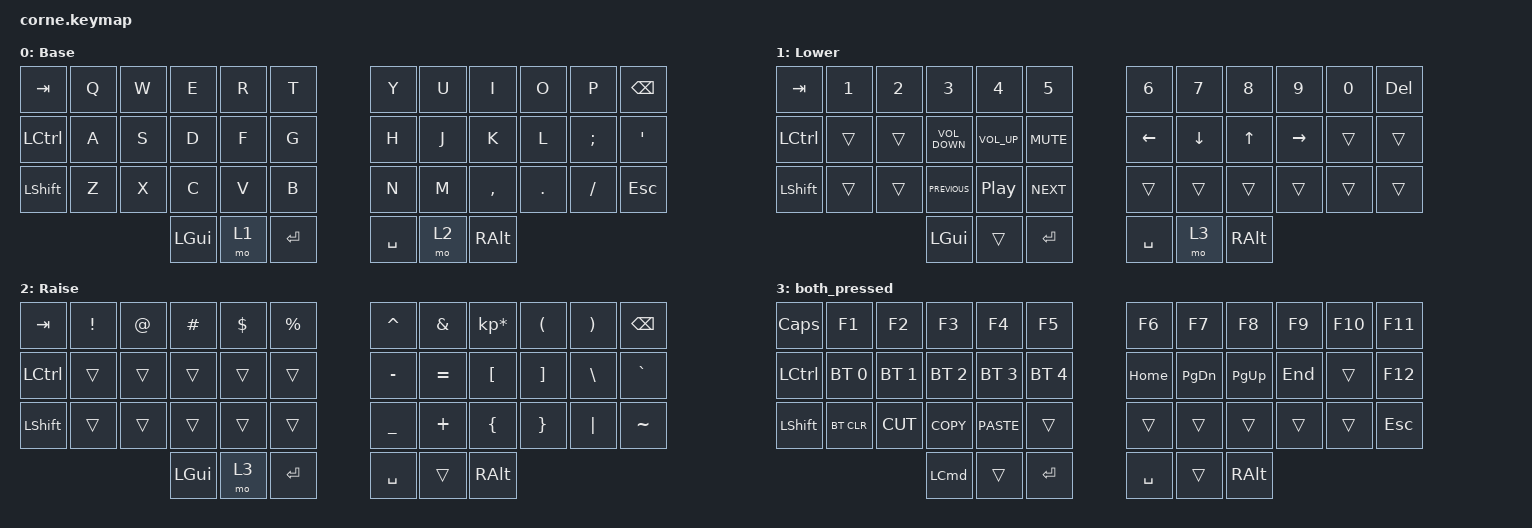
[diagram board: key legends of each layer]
/*
 * Copyright (c) 2020 The ZMK Contributors
 *
 * SPDX-License-Identifier: MIT
 */

#include <behaviors.dtsi>
#include <dt-bindings/zmk/bt.h>
#include <dt-bindings/zmk/keys.h>

/ {
    combos {
        compatible = "zmk,combos";

        both_layers {
            bindings = <&mo 3>;
            key-positions = <37 40>;
            layers = <3>;
        };
    };

    keymap {
        compatible = "zmk,keymap";

        default_layer {
            // -----------------------------------------------------------------------------------------
            // |  TAB |  Q  |  W  |  E  |  R  |  T  |   |  Y  |  U   |  I  |  O  |  P  | BKSP |
            // | CTRL |  A  |  S  |  D  |  F  |  G  |   |  H  |  J   |  K  |  L  |  ;  |  '   |
            // | SHFT |  Z  |  X  |  C  |  V  |  B  |   |  N  |  M   |  ,  |  .  |  /  | ESC  |
            //                    | GUI | LWR | SPC |   | ENT | RSE  | ALT |

            display-name = "Base";
            bindings = <
&kp TAB    &kp Q  &kp W  &kp E     &kp R  &kp T         &kp Y      &kp U  &kp I      &kp O    &kp P     &kp BSPC
&kp LCTRL  &kp A  &kp S  &kp D     &kp F  &kp G         &kp H      &kp J  &kp K      &kp L    &kp SEMI  &kp SQT
&kp LSHFT  &kp Z  &kp X  &kp C     &kp V  &kp B         &kp N      &kp M  &kp COMMA  &kp DOT  &kp FSLH  &kp ESC
                         &kp LGUI  &mo 1  &kp RETURN    &kp SPACE  &mo 2  &kp RALT
            >;
        };

        lower_layer {
            // -----------------------------------------------------------------------------------------
            // |  TAB |  1  |  2  |  3  |  4  |  5  |   |  6  |  7  |  8  |  9  |  0  | BKSP |
            // | BTCLR| BT1 | BT2 | BT3 | BT4 | BT5 |   | LFT | DWN |  UP | RGT |     |      |
            // | SHFT |     |     |     |     |     |   |     |     |     |     |     |      |
            //                    | GUI |     | SPC |   | ENT |     | ALT |

            display-name = "Lower";
            bindings = <
&kp TAB           &kp N1  &kp N2  &kp N3             &kp N4            &kp N5        &kp N6     &kp N7    &kp N8    &kp N9     &kp N0  &kp DELETE
&kp LEFT_CONTROL  &trans  &trans  &kp C_VOLUME_DOWN  &kp C_VOLUME_UP   &kp K_MUTE    &kp LEFT   &kp DOWN  &kp UP    &kp RIGHT  &trans  &trans
&kp LSHFT         &trans  &trans  &kp C_PREVIOUS     &kp C_PLAY_PAUSE  &kp C_NEXT    &trans     &trans    &trans    &trans     &trans  &trans
                                  &kp LGUI           &trans            &kp ENTER     &kp SPACE  &mo 3     &kp RALT
            >;
        };

        raise_layer {
            // -----------------------------------------------------------------------------------------
            // |  TAB |  !  |  @  |  #  |  $  |  %  |   |  ^  |  &  |  *  |  (  |  )  | BKSP |
            // | CTRL |     |     |     |     |     |   |  -  |  =  |  [  |  ]  |  \  |  `   |
            // | SHFT |     |     |     |     |     |   |  _  |  +  |  {  |  }  | "|" |  ~   |
            //                    | GUI |     | SPC |   | ENT |     | ALT |

            display-name = "Raise";
            bindings = <
&kp TAB    &kp EXCL  &kp AT  &kp HASH  &kp DLLR  &kp PRCNT    &kp CARET  &kp AMPS   &kp KP_MULTIPLY  &kp LPAR  &kp RPAR  &kp BSPC
&kp LCTRL  &trans    &trans  &trans    &trans    &trans       &kp MINUS  &kp EQUAL  &kp LBKT         &kp RBKT  &kp BSLH  &kp GRAVE
&kp LSHFT  &trans    &trans  &trans    &trans    &trans       &kp UNDER  &kp PLUS   &kp LBRC         &kp RBRC  &kp PIPE  &kp TILDE
                             &kp LGUI  &mo 3     &kp ENTER    &kp SPACE  &trans     &kp RALT
            >;
        };

        both_pressed {
            bindings = <
&kp CAPSLOCK      &kp F1        &kp F2        &kp F3            &kp F4        &kp F5          &kp F6     &kp F7         &kp F8         &kp F9   &kp F10  &kp F11
&kp LEFT_CONTROL  &bt BT_SEL 0  &bt BT_SEL 1  &bt BT_SEL 2      &bt BT_SEL 3  &bt BT_SEL 4    &kp HOME   &kp PAGE_DOWN  &kp PAGE_UP    &kp END  &trans   &kp F12
&kp LEFT_SHIFT    &bt BT_CLR    &kp K_CUT     &kp K_COPY        &kp K_PASTE   &trans          &trans     &trans         &trans         &trans   &trans   &kp ESC
                                              &kp LEFT_COMMAND  &trans        &kp ENTER       &kp SPACE  &trans         &kp RIGHT_ALT
            >;
        };
    };
};
